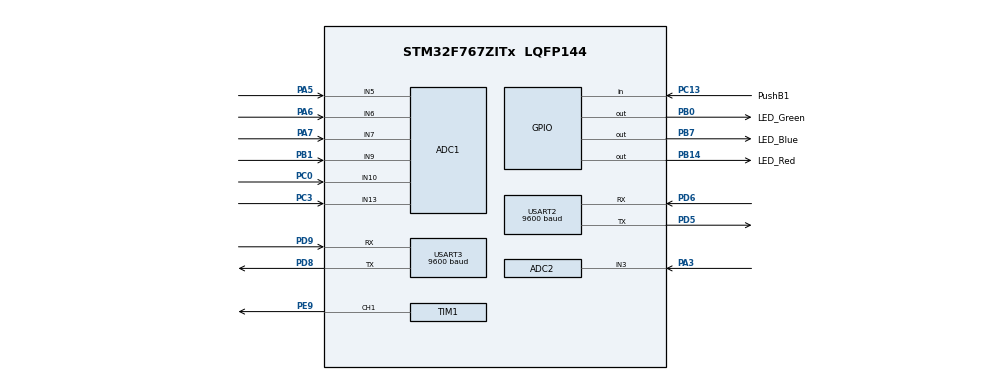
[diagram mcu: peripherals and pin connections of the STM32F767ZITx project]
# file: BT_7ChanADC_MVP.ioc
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ADC1.Channel-0\#ChannelRegularConversion=ADC_CHANNEL_10
ADC1.Channel-1\#ChannelRegularConversion=ADC_CHANNEL_5
ADC1.Channel-2\#ChannelRegularConversion=ADC_CHANNEL_6
ADC1.Channel-3\#ChannelRegularConversion=ADC_CHANNEL_9
ADC1.Channel-4\#ChannelRegularConversion=ADC_CHANNEL_7
ADC1.Channel-5\#ChannelRegularConversion=ADC_CHANNEL_13
ADC1.ClockPrescaler=ADC_CLOCK_SYNC_PCLK_DIV4
ADC1.DMAContinuousRequests=ENABLE
ADC1.ExternalTrigConv=ADC_EXTERNALTRIGCONV_T1_TRGO
ADC1.NbrOfConversion=6
ADC1.NbrOfConversionFlag=1
ADC1.Rank-0\#ChannelRegularConversion=1
ADC1.Rank-1\#ChannelRegularConversion=2
ADC1.Rank-2\#ChannelRegularConversion=3
ADC1.Rank-3\#ChannelRegularConversion=4
ADC1.Rank-4\#ChannelRegularConversion=5
ADC1.Rank-5\#ChannelRegularConversion=6
ADC1.SamplingTime-0\#ChannelRegularConversion=ADC_SAMPLETIME_3CYCLES
ADC1.SamplingTime-1\#ChannelRegularConversion=ADC_SAMPLETIME_3CYCLES
ADC1.SamplingTime-2\#ChannelRegularConversion=ADC_SAMPLETIME_3CYCLES
ADC1.SamplingTime-3\#ChannelRegularConversion=ADC_SAMPLETIME_3CYCLES
ADC1.SamplingTime-4\#ChannelRegularConversion=ADC_SAMPLETIME_3CYCLES
ADC1.SamplingTime-5\#ChannelRegularConversion=ADC_SAMPLETIME_3CYCLES
ADC1.master=1
ADC2.Channel-0\#ChannelRegularConversion=ADC_CHANNEL_3
ADC2.ClockPrescaler=ADC_CLOCK_SYNC_PCLK_DIV4
ADC2.ExternalTrigConv=ADC_EXTERNALTRIGCONV_T1_TRGO
ADC2.NbrOfConversionFlag=1
ADC2.Rank-0\#ChannelRegularConversion=1
ADC2.SamplingTime-0\#ChannelRegularConversion=ADC_SAMPLETIME_3CYCLES
Dma.ADC1.0.Direction=DMA_PERIPH_TO_MEMORY
Dma.ADC1.0.FIFOMode=DMA_FIFOMODE_DISABLE
Dma.ADC1.0.Instance=DMA2_Stream0
Dma.ADC1.0.MemDataAlignment=DMA_MDATAALIGN_HALFWORD
Dma.ADC1.0.MemInc=DMA_MINC_ENABLE
Dma.ADC1.0.Mode=DMA_CIRCULAR
Dma.ADC1.0.PeriphDataAlignment=DMA_PDATAALIGN_HALFWORD
Dma.ADC1.0.PeriphInc=DMA_PINC_DISABLE
Dma.ADC1.0.Priority=DMA_PRIORITY_MEDIUM
Dma.Request0=ADC1
Dma.Request1=USART3_RX
Dma.Request2=USART2_RX
Dma.USART2_RX.2.Direction=DMA_PERIPH_TO_MEMORY
Dma.USART2_RX.2.FIFOMode=DMA_FIFOMODE_DISABLE
Dma.USART2_RX.2.Instance=DMA1_Stream5
Dma.USART2_RX.2.MemDataAlignment=DMA_MDATAALIGN_BYTE
Dma.USART2_RX.2.MemInc=DMA_MINC_ENABLE
Dma.USART2_RX.2.Mode=DMA_NORMAL
Dma.USART2_RX.2.PeriphDataAlignment=DMA_PDATAALIGN_BYTE
Dma.USART2_RX.2.PeriphInc=DMA_PINC_DISABLE
Dma.USART2_RX.2.Priority=DMA_PRIORITY_MEDIUM
Dma.USART3_RX.1.Direction=DMA_PERIPH_TO_MEMORY
Dma.USART3_RX.1.FIFOMode=DMA_FIFOMODE_DISABLE
Dma.USART3_RX.1.Instance=DMA1_Stream1
Dma.USART3_RX.1.MemDataAlignment=DMA_MDATAALIGN_BYTE
Dma.USART3_RX.1.MemInc=DMA_MINC_ENABLE
Dma.USART3_RX.1.Mode=DMA_NORMAL
Dma.USART3_RX.1.PeriphDataAlignment=DMA_PDATAALIGN_BYTE
Dma.USART3_RX.1.PeriphInc=DMA_PINC_DISABLE
Dma.USART3_RX.1.Priority=DMA_PRIORITY_LOW
Mcu.Family=STM32F7
Mcu.Name=STM32F767ZITx
Mcu.Package=LQFP144
NVIC.ADC_IRQn=true\:0\:0\:false\:false\:true\:true\:true\:true
NVIC.DMA1_Stream1_IRQn=true\:0\:0\:false\:false\:true\:false\:true\:true
NVIC.DMA1_Stream5_IRQn=true\:0\:0\:false\:false\:true\:false\:true\:true
NVIC.DMA2_Stream0_IRQn=true\:0\:0\:false\:false\:true\:false\:true\:true
NVIC.PriorityGroup=NVIC_PRIORITYGROUP_4
NVIC.TIM1_BRK_TIM9_IRQn=true\:0\:0\:false\:false\:true\:true\:true\:true
NVIC.TIM1_TRG_COM_TIM11_IRQn=true\:0\:0\:false\:false\:true\:true\:true\:true
NVIC.USART2_IRQn=true\:0\:0\:false\:false\:true\:true\:true\:true
NVIC.USART3_IRQn=true\:0\:0\:false\:false\:true\:true\:true\:true
PA13.Mode=Serial_Wire
PA13.Signal=SYS_JTMS-SWDIO
PA14.Mode=Serial_Wire
PA14.Signal=SYS_JTCK-SWCLK
PA3.Signal=ADCx_IN3
PA5.Signal=ADCx_IN5
PA6.Signal=ADCx_IN6
PA7.Signal=ADCx_IN7
PB0.GPIO_Label=LED_Green
PB0.Signal=GPIO_Output
PB1.Signal=ADCx_IN9
PB14.GPIO_Label=LED_Red
PB14.Signal=GPIO_Output
PB7.GPIO_Label=LED_Blue
PB7.Signal=GPIO_Output
PC0.Signal=ADCx_IN10
PC13.GPIO_Label=PushB1
PC13.Signal=GPIO_Input
PC3.Signal=ADCx_IN13
PD5.Mode=Asynchronous
PD5.Signal=USART2_TX
PD6.Mode=Asynchronous
PD6.Signal=USART2_RX
PD8.Mode=Asynchronous
PD8.Signal=USART3_TX
PD9.Mode=Asynchronous
PD9.Signal=USART3_RX
PE9.Signal=S_TIM1_CH1
ProjectManager.HeapSize=0x200
ProjectManager.StackSize=0x400
ProjectManager.TargetToolchain=STM32CubeIDE
RCC.HSE_VALUE=25000000
RCC.HSI_VALUE=16000000
RCC.LSE_VALUE=32768
RCC.USBFreq_Value=96000000
RCC.VCOOutputFreq_Value=192000000
SH.ADCx_IN10.0=ADC1_IN10,IN10
SH.ADCx_IN13.0=ADC1_IN13,IN13
SH.ADCx_IN3.0=ADC2_IN3,IN3
SH.ADCx_IN5.0=ADC1_IN5,IN5
SH.ADCx_IN6.0=ADC1_IN6,IN6
SH.ADCx_IN7.0=ADC1_IN7,IN7
SH.ADCx_IN9.0=ADC1_IN9,IN9
SH.S_TIM1_CH1.0=TIM1_CH1,PWM Generation1 CH1
TIM1.Channel-PWM\ Generation1\ CH1=TIM_CHANNEL_1
TIM1.Period=16000-1
TIM1.TIM_MasterOutputTrigger=TIM_TRGO_UPDATE
USART2.BaudRate=9600
USART2.OneBitSampling=UART_ONE_BIT_SAMPLE_ENABLE
USART2.OverSampling=UART_OVERSAMPLING_8
USART2.VirtualMode-Asynchronous=VM_ASYNC
USART3.BaudRate=9600
USART3.OneBitSampling=UART_ONE_BIT_SAMPLE_ENABLE
USART3.OverSampling=UART_OVERSAMPLING_8
USART3.VirtualMode-Asynchronous=VM_ASYNC
VP_TIM1_VS_ClockSourceINT.Mode=Internal
board=custom

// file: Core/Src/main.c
/* USER CODE BEGIN Header */
/**
  ******************************************************************************
  * @file           : main.c
  * @brief          : Main program body
  ******************************************************************************
  * @attention
  *
  * Copyright (c) 2023 STMicroelectronics.
  * All rights reserved.
  *
  * This software is licensed under terms that can be found in the LICENSE file
  * in the root directory of this software component.
  * If no LICENSE file comes with this software, it is provided AS-IS.
  *
  ******************************************************************************
  */
/* USER CODE END Header */
#include "main.h"

/* USER CODE BEGIN Includes */
#include <string.h>
/* USER CODE END Includes */

/* USER CODE BEGIN PD */

//Used to Control Length of USBbuffer
#define txBuffSize 8
#define rxBuffSize 13

//should match number of channels on ADC1 and ADC2
#define numOfChansADC1 6
#define numOfChansADC2 1
#define numberOfLimbs 6
/* USER CODE END PD */

ADC_HandleTypeDef hadc1;
ADC_HandleTypeDef hadc2;
DMA_HandleTypeDef hdma_adc1;

TIM_HandleTypeDef htim1;

UART_HandleTypeDef huart2;
UART_HandleTypeDef huart3;
DMA_HandleTypeDef hdma_usart2_rx;
DMA_HandleTypeDef hdma_usart3_rx;

/* USER CODE BEGIN PV */

enum Sensor
{
	LL,
	LU,
	RL,
	RU,
	Bdy,
	Hd,
};

static uint8_t exoCounter[numberOfLimbs] = { 0 };
static uint16_t exoThresh[numberOfLimbs] = { 0 };
static int8_t exoCurrentState[numberOfLimbs] = { 0 };
static uint16_t exoStateCounter[numberOfLimbs] = { 0 };
struct errorCode
{
	uint8_t sensorCode;
	uint8_t comCode;
};

enum Sensor selectADC = LL;

//ADC PVs
volatile uint16_t Adc1Raw[numOfChansADC1]; //data straight from ADC and DMA
volatile uint16_t ADC2_val = 0;
uint16_t Adc1Loop[numOfChansADC1] = {0};

uint32_t Adc1Filt[numOfChansADC1] = { 0 };
uint16_t ADC2_LoopVal = 0;

//GPIO PVs
uint8_t buttonStatus = 0;
uint8_t buttonPrevious = 0;
//

//UART PVs
//use this to define number of consecutive highs before reset
uint16_t sensrErrCntThresh = 200;
//uint8_t txBuffer[txBuffSize] = { 'H', 'e', 'l', 'l', 'o', ' ', 'W', 'o', 'r', 'l', 'd', '\r', '\n' };
uint8_t USBtxBuffer[txBuffSize] = {1,2,3,4,5,6,7,8};
uint8_t BTtxBuffer[txBuffSize] = { 1, 2, 3, 4, 5, 6, 7, 8 };
uint8_t USBrxBuffer[rxBuffSize];
uint8_t BTrxBuffer[rxBuffSize];
uint8_t rxStorageBuffer[rxBuffSize];
uint8_t BTrxStorageBuffer[rxBuffSize];

//DEBUGING Vars

HAL_StatusTypeDef ADC1Status; //return status of ADC1 for debugging
HAL_StatusTypeDef ADC2Status; //return status of ADC2 for debugging
HAL_StatusTypeDef timer1Status; //return status of timer 1 for debugging
HAL_StatusTypeDef USBtxStatus; //return status on tranmit for debugging
HAL_StatusTypeDef USBrxStatus; //return status on receive for debugging
HAL_StatusTypeDef BTtxStatus; //return status on tranmit for debugging
HAL_StatusTypeDef BTrxStatus; //return status on receive for debugging

/* USER CODE END PV */

void SystemClock_Config(void);
static void MX_GPIO_Init(void);
static void MX_DMA_Init(void);
static void MX_ADC2_Init(void);
static void MX_ADC1_Init(void);
static void MX_TIM1_Init(void);
static void MX_USART3_UART_Init(void);
static void MX_USART2_UART_Init(void);
/* USER CODE BEGIN PFP */

//Three reset functions for createing structs
void resetExoHitVars();
struct errorCode ReseterrorCode(void);

void calibrateSensor();
/* USER CODE END PFP */

int main(void)
{

  /* MCU Configuration--------------------------------------------------------*/

  /* Reset of all peripherals, Initializes the Flash interface and the Systick. */
  HAL_Init();

  /* Configure the system clock */
  SystemClock_Config();

  /* Initialize all configured peripherals */
  MX_GPIO_Init();
  MX_DMA_Init();
  MX_ADC2_Init();
  MX_ADC1_Init();
  MX_TIM1_Init();
  MX_USART3_UART_Init();
  MX_USART2_UART_Init();
  /* USER CODE BEGIN 2 */

	//Start Periferals
	if (HAL_ADC_Start_DMA(&hadc1, (uint32_t *)Adc1Raw, sizeof(Adc1Raw) / sizeof(Adc1Raw[0])) != HAL_OK)
		Error_Handler();
	if (HAL_ADC_Start(&hadc2) != HAL_OK)
		Error_Handler();
	if (HAL_TIM_Base_Start_IT(&htim1) != HAL_OK)
		Error_Handler();
	if (HAL_TIM_PWM_Start(&htim1, TIM_CHANNEL_1) != HAL_OK)
		Error_Handler();

	//ConfigureDMA
	USBrxStatus = HAL_UARTEx_ReceiveToIdle_DMA(&huart3, USBrxBuffer, sizeof(USBrxBuffer) / sizeof(USBrxBuffer[0])); //CHANGE
	if (USBrxStatus != HAL_OK)
		Error_Handler();
	__HAL_DMA_DISABLE_IT(&hdma_usart3_rx, DMA_IT_HT); //remeber that I set DMA handel to extern in the .h file this may cause bugs

	BTrxStatus = HAL_UARTEx_ReceiveToIdle_DMA(&huart2, BTrxBuffer, sizeof(BTrxBuffer) / sizeof(BTrxBuffer[0])); //CHANGE
	if (BTrxStatus != HAL_OK)
		Error_Handler();
	__HAL_DMA_DISABLE_IT(&hdma_usart3_rx, DMA_IT_HT); //remeber that I set DMA handel to extern in the .h file this may cause bugs

	HAL_GPIO_WritePin(GPIOE, GPIO_PIN_13, GPIO_PIN_RESET);

	calibrateSensor();

  /* USER CODE END 2 */

  /* Infinite loop */
  /* USER CODE BEGIN WHILE */
	int loop;
  while (1)
  {
	  //Update State of Controller

	  //Get adc values

	  //No filter loop
	  //	  for (enum Sensor i = 0; i < numOfChansADC1; i++)
//		  {
//			  Adc1Loop[i] = Adc1Raw[i];
//		  }
	  for (enum Sensor i = 0; i < numOfChansADC1; i++)
		  {
			  Adc1Filt[i] = Adc1Raw[i];
		  }

	  //ADD extra values for averageing filter
	  uint8_t numberOfTaps = 10;
	  for (enum Sensor j = 0; j < numberOfTaps; j++)
	  {
			  for (enum Sensor i = 0; i < numOfChansADC1; i++)
			  {
				  Adc1Filt[i] += Adc1Raw[i];
			  }
		  HAL_Delay(2);
	  }
	  //average out values
	  for (enum Sensor i = 0; i < numOfChansADC1; i++)
	  {
		  Adc1Loop[i] = (uint16_t)((double)Adc1Filt[i] / (1.0*numberOfTaps));
	  }

	  ADC2_LoopVal = ADC2_val;
	  //Get PB values

	  //Get UART values
	  buttonStatus = HAL_GPIO_ReadPin(PushB1_GPIO_Port, PushB1_Pin);

	  	  //Changed to score reset.
	  if (buttonStatus == 1)
	  {
		  //
		  HAL_Delay(100);
		  resetExoHitVars();

		  buttonStatus = 0;

	  }
		//compare ADC to Thresh and count hits
	  for (enum Sensor sensorPos = LL; sensorPos < numberOfLimbs; sensorPos++)
	  {
		  //check if sensor is in error state and if so leave it alone
		  if (exoCurrentState[sensorPos] != -1)
		  {
			  //set flag if threshold is exceded
			  if (Adc1Loop[sensorPos] > exoThresh[sensorPos])
			  {
				  exoCurrentState[sensorPos] = 1;
			  }
			  else
			  {
				  exoCurrentState[sensorPos] = 0;
			  }
		  }
	  }

	  uint8_t resetFlag = 0; //repalce this
	  //Reset Condition

	  if (rxStorageBuffer[0] == 'r')
	  {
		  resetFlag = 1;
		  rxStorageBuffer[0] = 0;
	  }
	  if (resetFlag == 1)
	  {
		  //reset exoCounter and state varibles
		  resetExoHitVars();
		  HAL_Delay(200);
		  resetFlag = 0;
	  }
	  else if(0) //error flag goes here
	  {
		  while (1)
		  {

			  __NOP();
		  }
	  }
	  else //check State of punches
	  {
		  // iterate across sensors and store valus sensor error flag is -1 on exoCurrent state which is handeled above
		  for (enum Sensor sensorPos = 0; sensorPos < numberOfLimbs; sensorPos++)
		  {
			  if ((exoCurrentState[sensorPos] == 1) && (exoStateCounter[sensorPos] == 0))
			  {
				  //
				  exoCounter[sensorPos] += 1;
				  exoStateCounter[sensorPos] += 1;
			  }
			  else if ((exoCurrentState[sensorPos] == 1) && (exoStateCounter[sensorPos]> 0) && (sensrErrCntThresh >= exoStateCounter[sensorPos]))
			  {
				  //
				  exoStateCounter[sensorPos] += 1;
			  }
			  //Entered Error State Must Reset System
			  else if((exoCurrentState[sensorPos] == 1) && (exoStateCounter[sensorPos] > sensrErrCntThresh))
			  {
				  exoCurrentState[sensorPos] = -1;
			  }
			  else if(exoCurrentState[sensorPos] == 0)
			  {
				  exoStateCounter[sensorPos] = 0;
			  }
			  else
			  {
				  __NOP(); //Illegal State;
			  }
		  }
	  }

//
//
	  //Send results to master
	  HAL_Delay(70);
	  	  for (int i = 0; i < numberOfLimbs; i++)
	  {
		  USBtxBuffer[i] = (uint8_t) exoCounter[i];
		  BTtxBuffer[i] = (uint8_t) exoCounter[i];
	  }

	  USBtxStatus = HAL_UART_Transmit(&huart3, USBtxBuffer, sizeof(USBtxBuffer) / sizeof(USBtxBuffer[0]), 100); //CHANGE
	  //USBrxStatus = HAL_UART_Receive(&huart3, USBrxBuffer, sizeof(USBrxBuffer) / sizeof(USBrxBuffer[0]), 500);
	if(USBtxStatus != HAL_OK)
		Error_Handler();

	  BTtxStatus = HAL_UART_Transmit(&huart2, BTtxBuffer, sizeof(BTtxBuffer) / sizeof(BTtxBuffer[0]), 100); //CHANGE
//USBrxStatus = HAL_UART_Receive(&huart2, USBrxBuffer, sizeof(USBrxBuffer) / sizeof(USBrxBuffer[0]), 500);
	if (BTtxStatus != HAL_OK)
	  Error_Handler();

    /* USER CODE END WHILE */

  }
}

void SystemClock_Config(void)
{
  RCC_OscInitTypeDef RCC_OscInitStruct = {0};
  RCC_ClkInitTypeDef RCC_ClkInitStruct = {0};

  /** Configure the main internal regulator output voltage
  */
  __HAL_RCC_PWR_CLK_ENABLE();
  __HAL_PWR_VOLTAGESCALING_CONFIG(PWR_REGULATOR_VOLTAGE_SCALE3);

  /** Initializes the RCC Oscillators according to the specified parameters
  * in the RCC_OscInitTypeDef structure.
  */
  RCC_OscInitStruct.OscillatorType = RCC_OSCILLATORTYPE_HSI;
  RCC_OscInitStruct.HSIState = RCC_HSI_ON;
  RCC_OscInitStruct.HSICalibrationValue = RCC_HSICALIBRATION_DEFAULT;
  RCC_OscInitStruct.PLL.PLLState = RCC_PLL_NONE;
  if (HAL_RCC_OscConfig(&RCC_OscInitStruct) != HAL_OK)
  {
    Error_Handler();
  }

  /** Initializes the CPU, AHB and APB buses clocks
  */
  RCC_ClkInitStruct.ClockType = RCC_CLOCKTYPE_HCLK|RCC_CLOCKTYPE_SYSCLK
                              |RCC_CLOCKTYPE_PCLK1|RCC_CLOCKTYPE_PCLK2;
  RCC_ClkInitStruct.SYSCLKSource = RCC_SYSCLKSOURCE_HSI;
  RCC_ClkInitStruct.AHBCLKDivider = RCC_SYSCLK_DIV1;
  RCC_ClkInitStruct.APB1CLKDivider = RCC_HCLK_DIV1;
  RCC_ClkInitStruct.APB2CLKDivider = RCC_HCLK_DIV1;

  if (HAL_RCC_ClockConfig(&RCC_ClkInitStruct, FLASH_LATENCY_0) != HAL_OK)
  {
    Error_Handler();
  }
}

static void MX_ADC1_Init(void)
{

  ADC_ChannelConfTypeDef sConfig = {0};

  /** Configure the global features of the ADC (Clock, Resolution, Data Alignment and number of conversion)
  */
  hadc1.Instance = ADC1;
  hadc1.Init.ClockPrescaler = ADC_CLOCK_SYNC_PCLK_DIV4;
  hadc1.Init.Resolution = ADC_RESOLUTION_12B;
  hadc1.Init.ScanConvMode = ADC_SCAN_ENABLE;
  hadc1.Init.ContinuousConvMode = DISABLE;
  hadc1.Init.DiscontinuousConvMode = DISABLE;
  hadc1.Init.ExternalTrigConvEdge = ADC_EXTERNALTRIGCONVEDGE_RISING;
  hadc1.Init.ExternalTrigConv = ADC_EXTERNALTRIGCONV_T1_TRGO;
  hadc1.Init.DataAlign = ADC_DATAALIGN_RIGHT;
  hadc1.Init.NbrOfConversion = 6;
  hadc1.Init.DMAContinuousRequests = ENABLE;
  hadc1.Init.EOCSelection = ADC_EOC_SINGLE_CONV;
  if (HAL_ADC_Init(&hadc1) != HAL_OK)
  {
    Error_Handler();
  }

  /** Configure for the selected ADC regular channel its corresponding rank in the sequencer and its sample time.
  */
  sConfig.Channel = ADC_CHANNEL_10;
  sConfig.Rank = ADC_REGULAR_RANK_1;
  sConfig.SamplingTime = ADC_SAMPLETIME_3CYCLES;
  if (HAL_ADC_ConfigChannel(&hadc1, &sConfig) != HAL_OK)
  {
    Error_Handler();
  }

  /** Configure for the selected ADC regular channel its corresponding rank in the sequencer and its sample time.
  */
  sConfig.Channel = ADC_CHANNEL_5;
  sConfig.Rank = ADC_REGULAR_RANK_2;
  if (HAL_ADC_ConfigChannel(&hadc1, &sConfig) != HAL_OK)
  {
    Error_Handler();
  }

  /** Configure for the selected ADC regular channel its corresponding rank in the sequencer and its sample time.
  */
  sConfig.Channel = ADC_CHANNEL_6;
  sConfig.Rank = ADC_REGULAR_RANK_3;
  if (HAL_ADC_ConfigChannel(&hadc1, &sConfig) != HAL_OK)
  {
    Error_Handler();
  }

  /** Configure for the selected ADC regular channel its corresponding rank in the sequencer and its sample time.
  */
  sConfig.Channel = ADC_CHANNEL_9;
  sConfig.Rank = ADC_REGULAR_RANK_4;
  if (HAL_ADC_ConfigChannel(&hadc1, &sConfig) != HAL_OK)
  {
    Error_Handler();
  }

  /** Configure for the selected ADC regular channel its corresponding rank in the sequencer and its sample time.
  */
  sConfig.Channel = ADC_CHANNEL_7;
  sConfig.Rank = ADC_REGULAR_RANK_5;
  if (HAL_ADC_ConfigChannel(&hadc1, &sConfig) != HAL_OK)
  {
    Error_Handler();
  }

  /** Configure for the selected ADC regular channel its corresponding rank in the sequencer and its sample time.
  */
  sConfig.Channel = ADC_CHANNEL_13;
  sConfig.Rank = ADC_REGULAR_RANK_6;
  if (HAL_ADC_ConfigChannel(&hadc1, &sConfig) != HAL_OK)
  {
    Error_Handler();
  }

}

static void MX_ADC2_Init(void)
{

  ADC_ChannelConfTypeDef sConfig = {0};

  /** Configure the global features of the ADC (Clock, Resolution, Data Alignment and number of conversion)
  */
  hadc2.Instance = ADC2;
  hadc2.Init.ClockPrescaler = ADC_CLOCK_SYNC_PCLK_DIV4;
  hadc2.Init.Resolution = ADC_RESOLUTION_12B;
  hadc2.Init.ScanConvMode = ADC_SCAN_DISABLE;
  hadc2.Init.ContinuousConvMode = DISABLE;
  hadc2.Init.DiscontinuousConvMode = DISABLE;
  hadc2.Init.ExternalTrigConvEdge = ADC_EXTERNALTRIGCONVEDGE_RISING;
  hadc2.Init.ExternalTrigConv = ADC_EXTERNALTRIGCONV_T1_TRGO;
  hadc2.Init.DataAlign = ADC_DATAALIGN_RIGHT;
  hadc2.Init.NbrOfConversion = 1;
  hadc2.Init.DMAContinuousRequests = DISABLE;
  hadc2.Init.EOCSelection = ADC_EOC_SINGLE_CONV;
  if (HAL_ADC_Init(&hadc2) != HAL_OK)
  {
    Error_Handler();
  }

  /** Configure for the selected ADC regular channel its corresponding rank in the sequencer and its sample time.
  */
  sConfig.Channel = ADC_CHANNEL_3;
  sConfig.Rank = ADC_REGULAR_RANK_1;
  sConfig.SamplingTime = ADC_SAMPLETIME_3CYCLES;
  if (HAL_ADC_ConfigChannel(&hadc2, &sConfig) != HAL_OK)
  {
    Error_Handler();
  }

}

static void MX_TIM1_Init(void)
{

  TIM_ClockConfigTypeDef sClockSourceConfig = {0};
  TIM_MasterConfigTypeDef sMasterConfig = {0};
  TIM_OC_InitTypeDef sConfigOC = {0};
  TIM_BreakDeadTimeConfigTypeDef sBreakDeadTimeConfig = {0};

  htim1.Instance = TIM1;
  htim1.Init.Prescaler = 0;
  htim1.Init.CounterMode = TIM_COUNTERMODE_UP;
  htim1.Init.Period = 16000-1;
  htim1.Init.ClockDivision = TIM_CLOCKDIVISION_DIV1;
  htim1.Init.RepetitionCounter = 0;
  htim1.Init.AutoReloadPreload = TIM_AUTORELOAD_PRELOAD_DISABLE;
  if (HAL_TIM_Base_Init(&htim1) != HAL_OK)
  {
    Error_Handler();
  }
  sClockSourceConfig.ClockSource = TIM_CLOCKSOURCE_INTERNAL;
  if (HAL_TIM_ConfigClockSource(&htim1, &sClockSourceConfig) != HAL_OK)
  {
    Error_Handler();
  }
  if (HAL_TIM_PWM_Init(&htim1) != HAL_OK)
  {
    Error_Handler();
  }
  sMasterConfig.MasterOutputTrigger = TIM_TRGO_UPDATE;
  sMasterConfig.MasterOutputTrigger2 = TIM_TRGO2_RESET;
  sMasterConfig.MasterSlaveMode = TIM_MASTERSLAVEMODE_DISABLE;
  if (HAL_TIMEx_MasterConfigSynchronization(&htim1, &sMasterConfig) != HAL_OK)
  {
    Error_Handler();
  }
  sConfigOC.OCMode = TIM_OCMODE_PWM1;
  sConfigOC.Pulse = 0;
  sConfigOC.OCPolarity = TIM_OCPOLARITY_HIGH;
  sConfigOC.OCNPolarity = TIM_OCNPOLARITY_HIGH;
  sConfigOC.OCFastMode = TIM_OCFAST_DISABLE;
  sConfigOC.OCIdleState = TIM_OCIDLESTATE_RESET;
  sConfigOC.OCNIdleState = TIM_OCNIDLESTATE_RESET;
  if (HAL_TIM_PWM_ConfigChannel(&htim1, &sConfigOC, TIM_CHANNEL_1) != HAL_OK)
  {
    Error_Handler();
  }
  sBreakDeadTimeConfig.OffStateRunMode = TIM_OSSR_DISABLE;
  sBreakDeadTimeConfig.OffStateIDLEMode = TIM_OSSI_DISABLE;
  sBreakDeadTimeConfig.LockLevel = TIM_LOCKLEVEL_OFF;
  sBreakDeadTimeConfig.DeadTime = 0;
  sBreakDeadTimeConfig.BreakState = TIM_BREAK_DISABLE;
  sBreakDeadTimeConfig.BreakPolarity = TIM_BREAKPOLARITY_HIGH;
  sBreakDeadTimeConfig.BreakFilter = 0;
  sBreakDeadTimeConfig.Break2State = TIM_BREAK2_DISABLE;
  sBreakDeadTimeConfig.Break2Polarity = TIM_BREAK2POLARITY_HIGH;
  sBreakDeadTimeConfig.Break2Filter = 0;
  sBreakDeadTimeConfig.AutomaticOutput = TIM_AUTOMATICOUTPUT_DISABLE;
  if (HAL_TIMEx_ConfigBreakDeadTime(&htim1, &sBreakDeadTimeConfig) != HAL_OK)
  {
    Error_Handler();
  }
  HAL_TIM_MspPostInit(&htim1);

}

static void MX_USART2_UART_Init(void)
{

  huart2.Instance = USART2;
  huart2.Init.BaudRate = 9600;
  huart2.Init.WordLength = UART_WORDLENGTH_8B;
  huart2.Init.StopBits = UART_STOPBITS_1;
  huart2.Init.Parity = UART_PARITY_NONE;
  huart2.Init.Mode = UART_MODE_TX_RX;
  huart2.Init.HwFlowCtl = UART_HWCONTROL_NONE;
  huart2.Init.OverSampling = UART_OVERSAMPLING_8;
  huart2.Init.OneBitSampling = UART_ONE_BIT_SAMPLE_ENABLE;
  huart2.AdvancedInit.AdvFeatureInit = UART_ADVFEATURE_NO_INIT;
  if (HAL_UART_Init(&huart2) != HAL_OK)
  {
    Error_Handler();
  }

}

static void MX_USART3_UART_Init(void)
{

  huart3.Instance = USART3;
  huart3.Init.BaudRate = 9600;
  huart3.Init.WordLength = UART_WORDLENGTH_8B;
  huart3.Init.StopBits = UART_STOPBITS_1;
  huart3.Init.Parity = UART_PARITY_NONE;
  huart3.Init.Mode = UART_MODE_TX_RX;
  huart3.Init.HwFlowCtl = UART_HWCONTROL_NONE;
  huart3.Init.OverSampling = UART_OVERSAMPLING_8;
  huart3.Init.OneBitSampling = UART_ONE_BIT_SAMPLE_ENABLE;
  huart3.AdvancedInit.AdvFeatureInit = UART_ADVFEATURE_NO_INIT;
  if (HAL_UART_Init(&huart3) != HAL_OK)
  {
    Error_Handler();
  }

}

static void MX_DMA_Init(void)
{

  /* DMA controller clock enable */
  __HAL_RCC_DMA2_CLK_ENABLE();
  __HAL_RCC_DMA1_CLK_ENABLE();

  /* DMA interrupt init */
  /* DMA1_Stream1_IRQn interrupt configuration */
  HAL_NVIC_SetPriority(DMA1_Stream1_IRQn, 0, 0);
  HAL_NVIC_EnableIRQ(DMA1_Stream1_IRQn);
  /* DMA1_Stream5_IRQn interrupt configuration */
  HAL_NVIC_SetPriority(DMA1_Stream5_IRQn, 0, 0);
  HAL_NVIC_EnableIRQ(DMA1_Stream5_IRQn);
  /* DMA2_Stream0_IRQn interrupt configuration */
  HAL_NVIC_SetPriority(DMA2_Stream0_IRQn, 0, 0);
  HAL_NVIC_EnableIRQ(DMA2_Stream0_IRQn);

}

static void MX_GPIO_Init(void)
{
  GPIO_InitTypeDef GPIO_InitStruct = {0};

  /* GPIO Ports Clock Enable */
  __HAL_RCC_GPIOE_CLK_ENABLE();
  __HAL_RCC_GPIOC_CLK_ENABLE();
  __HAL_RCC_GPIOF_CLK_ENABLE();
  __HAL_RCC_GPIOH_CLK_ENABLE();
  __HAL_RCC_GPIOA_CLK_ENABLE();
  __HAL_RCC_GPIOB_CLK_ENABLE();
  __HAL_RCC_GPIOG_CLK_ENABLE();
  __HAL_RCC_GPIOD_CLK_ENABLE();

  /*Configure GPIO pin Output Level */
  HAL_GPIO_WritePin(GPIOB, LED_Green_Pin|LED_Red_Pin|LED_Blue_Pin, GPIO_PIN_RESET);

  /*Configure GPIO pins : PE2 PE3 PE4 PE5
                           PE6 PE7 PE8 PE10
                           PE11 PE12 PE13 PE14
                           PE15 PE0 PE1 */
  GPIO_InitStruct.Pin = GPIO_PIN_2|GPIO_PIN_3|GPIO_PIN_4|GPIO_PIN_5
                          |GPIO_PIN_6|GPIO_PIN_7|GPIO_PIN_8|GPIO_PIN_10
                          |GPIO_PIN_11|GPIO_PIN_12|GPIO_PIN_13|GPIO_PIN_14
                          |GPIO_PIN_15|GPIO_PIN_0|GPIO_PIN_1;
  GPIO_InitStruct.Mode = GPIO_MODE_ANALOG;
  GPIO_InitStruct.Pull = GPIO_NOPULL;
  HAL_GPIO_Init(GPIOE, &GPIO_InitStruct);

  /*Configure GPIO pin : PushB1_Pin */
  GPIO_InitStruct.Pin = PushB1_Pin;
  GPIO_InitStruct.Mode = GPIO_MODE_INPUT;
  GPIO_InitStruct.Pull = GPIO_NOPULL;
  HAL_GPIO_Init(PushB1_GPIO_Port, &GPIO_InitStruct);

  /*Configure GPIO pins : PC14 PC15 PC1 PC2
                           PC4 PC5 PC6 PC7
                           PC8 PC9 PC10 PC11
                           PC12 */
  GPIO_InitStruct.Pin = GPIO_PIN_14|GPIO_PIN_15|GPIO_PIN_1|GPIO_PIN_2
                          |GPIO_PIN_4|GPIO_PIN_5|GPIO_PIN_6|GPIO_PIN_7
                          |GPIO_PIN_8|GPIO_PIN_9|GPIO_PIN_10|GPIO_PIN_11
                          |GPIO_PIN_12;
  GPIO_InitStruct.Mode = GPIO_MODE_ANALOG;
  GPIO_InitStruct.Pull = GPIO_NOPULL;
  HAL_GPIO_Init(GPIOC, &GPIO_InitStruct);

  /*Configure GPIO pins : PF0 PF1 PF2 PF3
                           PF4 PF5 PF6 PF7
                           PF8 PF9 PF10 PF11
                           PF12 PF13 PF14 PF15 */
  GPIO_InitStruct.Pin = GPIO_PIN_0|GPIO_PIN_1|GPIO_PIN_2|GPIO_PIN_3
                          |GPIO_PIN_4|GPIO_PIN_5|GPIO_PIN_6|GPIO_PIN_7
                          |GPIO_PIN_8|GPIO_PIN_9|GPIO_PIN_10|GPIO_PIN_11
                          |GPIO_PIN_12|GPIO_PIN_13|GPIO_PIN_14|GPIO_PIN_15;
  GPIO_InitStruct.Mode = GPIO_MODE_ANALOG;
  GPIO_InitStruct.Pull = GPIO_NOPULL;
  HAL_GPIO_Init(GPIOF, &GPIO_InitStruct);

  /*Configure GPIO pins : PH0 PH1 */
  GPIO_InitStruct.Pin = GPIO_PIN_0|GPIO_PIN_1;
  GPIO_InitStruct.Mode = GPIO_MODE_ANALOG;
  GPIO_InitStruct.Pull = GPIO_NOPULL;
  HAL_GPIO_Init(GPIOH, &GPIO_InitStruct);

  /*Configure GPIO pins : PA0 PA1 PA2 PA4
                           PA8 PA9 PA10 PA11
                           PA12 PA15 */
  GPIO_InitStruct.Pin = GPIO_PIN_0|GPIO_PIN_1|GPIO_PIN_2|GPIO_PIN_4
                          |GPIO_PIN_8|GPIO_PIN_9|GPIO_PIN_10|GPIO_PIN_11
                          |GPIO_PIN_12|GPIO_PIN_15;
  GPIO_InitStruct.Mode = GPIO_MODE_ANALOG;
  GPIO_InitStruct.Pull = GPIO_NOPULL;
  HAL_GPIO_Init(GPIOA, &GPIO_InitStruct);

  /*Configure GPIO pins : LED_Green_Pin LED_Red_Pin LED_Blue_Pin */
  GPIO_InitStruct.Pin = LED_Green_Pin|LED_Red_Pin|LED_Blue_Pin;
  GPIO_InitStruct.Mode = GPIO_MODE_OUTPUT_PP;
  GPIO_InitStruct.Pull = GPIO_NOPULL;
  GPIO_InitStruct.Speed = GPIO_SPEED_FREQ_LOW;
  HAL_GPIO_Init(GPIOB, &GPIO_InitStruct);

  /*Configure GPIO pins : PB2 PB10 PB11 PB12
                           PB13 PB15 PB3 PB4
                           PB5 PB6 PB8 PB9 */
  GPIO_InitStruct.Pin = GPIO_PIN_2|GPIO_PIN_10|GPIO_PIN_11|GPIO_PIN_12
                          |GPIO_PIN_13|GPIO_PIN_15|GPIO_PIN_3|GPIO_PIN_4
                          |GPIO_PIN_5|GPIO_PIN_6|GPIO_PIN_8|GPIO_PIN_9;
  GPIO_InitStruct.Mode = GPIO_MODE_ANALOG;
  GPIO_InitStruct.Pull = GPIO_NOPULL;
  HAL_GPIO_Init(GPIOB, &GPIO_InitStruct);

  /*Configure GPIO pins : PG0 PG1 PG2 PG3
                           PG4 PG5 PG6 PG7
                           PG8 PG9 PG10 PG11
                           PG12 PG13 PG14 PG15 */
  GPIO_InitStruct.Pin = GPIO_PIN_0|GPIO_PIN_1|GPIO_PIN_2|GPIO_PIN_3
                          |GPIO_PIN_4|GPIO_PIN_5|GPIO_PIN_6|GPIO_PIN_7
                          |GPIO_PIN_8|GPIO_PIN_9|GPIO_PIN_10|GPIO_PIN_11
                          |GPIO_PIN_12|GPIO_PIN_13|GPIO_PIN_14|GPIO_PIN_15;
  GPIO_InitStruct.Mode = GPIO_MODE_ANALOG;
  GPIO_InitStruct.Pull = GPIO_NOPULL;
  HAL_GPIO_Init(GPIOG, &GPIO_InitStruct);

  /*Configure GPIO pins : PD10 PD11 PD12 PD13
                           PD14 PD15 PD0 PD1
                           PD2 PD3 PD4 PD7 */
  GPIO_InitStruct.Pin = GPIO_PIN_10|GPIO_PIN_11|GPIO_PIN_12|GPIO_PIN_13
                          |GPIO_PIN_14|GPIO_PIN_15|GPIO_PIN_0|GPIO_PIN_1
                          |GPIO_PIN_2|GPIO_PIN_3|GPIO_PIN_4|GPIO_PIN_7;
  GPIO_InitStruct.Mode = GPIO_MODE_ANALOG;
  GPIO_InitStruct.Pull = GPIO_NOPULL;
  HAL_GPIO_Init(GPIOD, &GPIO_InitStruct);

}

/* USER CODE BEGIN 4 */
//functions
struct errorCode ReseterrorCode(void)
{

};

//function reset exoCounter, exoThresh, exoCurrentState
void resetExoHitVars()
{
	memset(exoCounter, 0, sizeof(exoCounter)*sizeof(exoCounter[0]));
	memset(exoCurrentState, 0, sizeof(exoCurrentState)* sizeof(exoCurrentState[0])); // Set Baseline by adjustment
	memset(exoStateCounter, 0, sizeof(exoStateCounter)*sizeof(exoStateCounter[0]));
}

void calibrateSensor()
{
	uint16_t channelMax[numberOfLimbs] = { 0 };
	uint16_t tempChannelStorage = 0;
	double frcScalar = 7.0;
	double chestScalar = 1.5;
	double headScalar = 4;
	double foamScalar = 1.3;
	//obtain max values after running loop jn times
	for (uint16_t j = 0; j < 5000; j++)
	{
		for (enum Sensor i = 0; i < numberOfLimbs; i++)
		{
			tempChannelStorage = Adc1Raw[i];
			if (tempChannelStorage  > channelMax[i])
			{
				channelMax[i] = tempChannelStorage;
			}
		}
		HAL_Delay(1);
	}

	//update threshhold

// NOTE THIS section is designed to work with either EVA-00 foam sensors or EVA-01 force sensors an IF statement
	// will check the range of the sensor and set calibration apporpiately
	for (enum Sensor sensorPos = 0; sensorPos < Bdy; sensorPos++)
	{

		if (channelMax[sensorPos] < 150)
		{
			exoThresh[sensorPos] = (uint16_t)(((double)channelMax[sensorPos]) * frcScalar); //added + 20 to overcome noise floor problem

		}
		else if ((150 < channelMax[sensorPos]) && (channelMax[sensorPos]<3071))
		{
			exoThresh[sensorPos] = (uint16_t)((double)(channelMax[sensorPos]+5) * 1.3); //added + 20 to overcome noise floor problem
		}
		else
		{
			exoThresh[sensorPos] = 4050;
		}
	}

	exoThresh[Bdy] = (uint16_t)(((double)channelMax[Bdy] + 20) * chestScalar); //added + 20 to overcome noise floor problem
	exoThresh[Hd] = (uint16_t)(((double)channelMax[Hd] + 20) * headScalar); //added + 20 to overcome noise floor problem

}

//Modified HAL functions
void HAL_ADC_ConvCpltCallback(ADC_HandleTypeDef* hadc)
{
	asm("nop");
	ADC2_val = HAL_ADC_GetValue(&hadc2);
	HAL_ADC_Start_IT(&hadc2);
}

void HAL_UARTEx_RxEventCallback(UART_HandleTypeDef *huart, uint16_t Size)
{
  //USART3 section for host communication  //CHANGE ADD SAME CODE FOR UART2
  if (huart->Instance == USART3)
  {
    memcpy(rxStorageBuffer, USBrxBuffer, Size);
	USBrxStatus = HAL_UARTEx_ReceiveToIdle_DMA(&huart3, USBrxBuffer, sizeof(USBrxBuffer) / sizeof(USBrxBuffer[0])); //CHANGE
	if (USBrxStatus != HAL_OK)
		Error_Handler();
	__HAL_DMA_DISABLE_IT(&hdma_usart3_rx, DMA_IT_HT); //remeber that I set DMA handel to extern in the .h file this may cause bugs
  }

if (huart->Instance == USART2)
{
	memcpy(rxStorageBuffer, BTrxBuffer, Size);
	BTrxStatus = HAL_UARTEx_ReceiveToIdle_DMA(&huart2, BTrxBuffer, sizeof(BTrxBuffer) / sizeof(BTrxBuffer[0])); //CHANGE
	if (BTrxStatus != HAL_OK)
		Error_Handler();
	__HAL_DMA_DISABLE_IT(&hdma_usart2_rx, DMA_IT_HT); //remeber that I set DMA handel to extern in the .h file this may cause bugs
}

	//BTrxStatus = HAL_UARTEx_ReceiveToIdle_DMA(&huart3, BTrxBuffer, sizeof(BTrxBuffer) / sizeof(BTrxBuffer[0])); //CHANGE
	//if (BTrxStatus != HAL_OK)
	//	Error_Handler();
	//__HAL_DMA_DISABLE_IT(&hdma_usart2_rx, DMA_IT_HT); //remeber that I set DMA handel to extern in the .h file this may cause bugs

  HAL_GPIO_TogglePin(LED_Blue_GPIO_Port, LED_Blue_Pin);
}

/* USER CODE END 4 */

void Error_Handler(void)
{
  __disable_irq();
  while (1)
  {
  }
}
